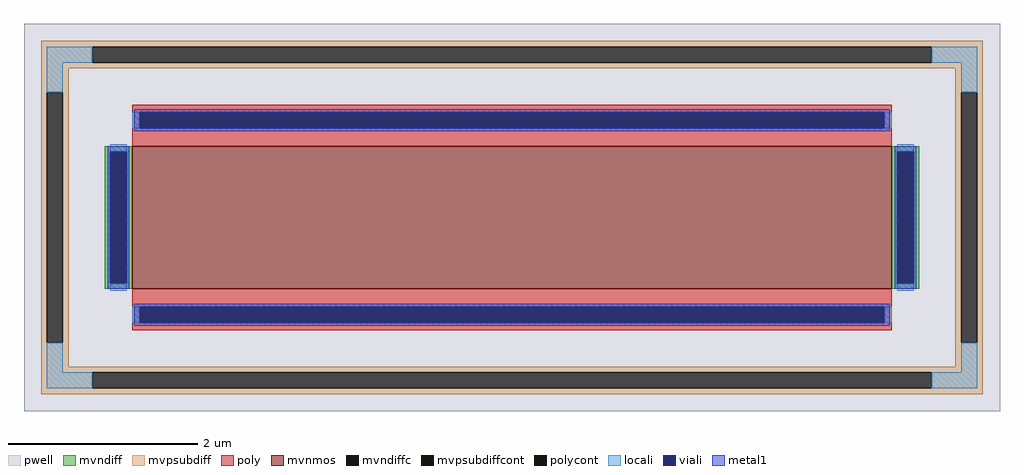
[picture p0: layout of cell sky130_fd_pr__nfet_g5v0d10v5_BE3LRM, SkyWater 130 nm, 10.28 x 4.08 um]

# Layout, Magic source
magic
tech sky130A
<< pwell >>
rect -514 -204 514 204
<< mvnmos >>
rect -400 -75 400 75
<< mvndiff >>
rect -429 69 -400 75
rect -429 -69 -423 69
rect -406 -69 -400 69
rect -429 -75 -400 -69
rect 400 69 429 75
rect 400 -69 406 69
rect 423 -69 429 69
rect 400 -75 429 -69
<< mvndiffc >>
rect -423 -69 -406 69
rect 406 -69 423 69
<< mvpsubdiff >>
rect -496 180 496 186
rect -496 163 -442 180
rect 442 163 496 180
rect -496 157 496 163
rect -496 132 -467 157
rect -496 -132 -490 132
rect -473 -132 -467 132
rect 467 132 496 157
rect -496 -157 -467 -132
rect 467 -132 473 132
rect 490 -132 496 132
rect 467 -157 496 -132
rect -496 -163 496 -157
rect -496 -180 -442 -163
rect 442 -180 496 -163
rect -496 -186 496 -180
<< mvpsubdiffcont >>
rect -442 163 442 180
rect -490 -132 -473 132
rect 473 -132 490 132
rect -442 -180 442 -163
<< poly >>
rect -400 111 400 119
rect -400 94 -392 111
rect 392 94 400 111
rect -400 75 400 94
rect -400 -94 400 -75
rect -400 -111 -392 -94
rect 392 -111 400 -94
rect -400 -119 400 -111
<< polycont >>
rect -392 94 392 111
rect -392 -111 392 -94
<< locali >>
rect -490 163 -442 180
rect 442 163 490 180
rect -490 132 -473 163
rect 473 132 490 163
rect -400 94 -392 111
rect 392 94 400 111
rect -423 69 -406 77
rect -423 -77 -406 -69
rect 406 69 423 77
rect 406 -77 423 -69
rect -400 -111 -392 -94
rect 392 -111 400 -94
rect -490 -163 -473 -132
rect 473 -163 490 -132
rect -490 -180 -442 -163
rect 442 -180 490 -163
<< viali >>
rect -392 94 392 111
rect -423 -69 -406 69
rect 406 -69 423 69
rect -392 -111 392 -94
<< metal1 >>
rect -398 111 398 114
rect -398 94 -392 111
rect 392 94 398 111
rect -398 91 398 94
rect -426 69 -403 75
rect -426 -69 -423 69
rect -406 -69 -403 69
rect -426 -75 -403 -69
rect 403 69 426 75
rect 403 -69 406 69
rect 423 -69 426 69
rect 403 -75 426 -69
rect -398 -94 398 -91
rect -398 -111 -392 -94
rect 392 -111 398 -94
rect -398 -114 398 -111
<< properties >>
string FIXED_BBOX -481 -171 481 171
string gencell sky130_fd_pr__nfet_g5v0d10v5
string library sky130
string parameters w 1.5 l 8 m 1 nf 1 diffcov 100 polycov 100 guard 1 glc 1 grc 1 gtc 1 gbc 1 tbcov 100 rlcov 100 topc 1 botc 1 poverlap 0 doverlap 1 lmin 0.50 wmin 0.42 compatible {sky130_fd_pr__nfet_01v8 sky130_fd_pr__nfet_01v8_lvt  sky130_fd_bs_flash__special_sonosfet_star  sky130_fd_pr__nfet_g5v0d10v5 sky130_fd_pr__nfet_05v0_nvt  sky130_fd_pr__nfet_03v3_nvt} full_metal 1 viasrc 100 viadrn 100 viagate 100 viagb 0 viagr 0 viagl 0 viagt 0
<< end >>
